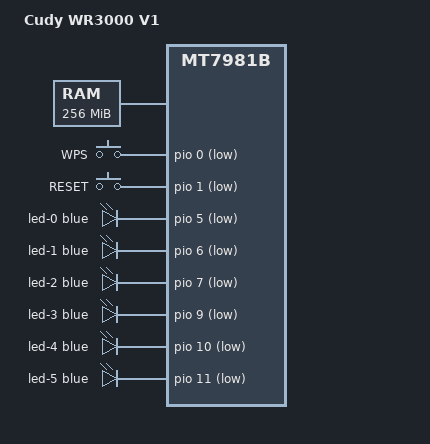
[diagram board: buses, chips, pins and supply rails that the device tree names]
// SPDX-License-Identifier: GPL-2.0-only OR MIT

/dts-v1/;
#include <dt-bindings/input/input.h>
#include <dt-bindings/gpio/gpio.h>
#include <dt-bindings/leds/common.h>

#include "mt7981b.dtsi"

/ {
	compatible = "cudy,wr3000-v1", "mediatek,mt7981b";
	model = "Cudy WR3000 V1";

	memory@40000000 {
		reg = <0 0x40000000 0 0x10000000>;
		device_type = "memory";
	};

	keys {
		compatible = "gpio-keys";

		key-wps {
			label = "WPS";
			gpios = <&pio 0 GPIO_ACTIVE_LOW>;
			linux,code = <KEY_WPS_BUTTON>;
		};

		key-reset {
			label = "RESET";
			gpios = <&pio 1 GPIO_ACTIVE_LOW>;
			linux,code = <KEY_RESTART>;
		};
	};

	leds {
		compatible = "gpio-leds";

		led-0 {
			color = <LED_COLOR_ID_BLUE>;
			function = LED_FUNCTION_WAN;
			gpios = <&pio 5 GPIO_ACTIVE_LOW>;
		};

		led-1 {
			color = <LED_COLOR_ID_BLUE>;
			function = LED_FUNCTION_WLAN_2GHZ;
			gpios = <&pio 6 GPIO_ACTIVE_LOW>;
		};

		led-2 {
			color = <LED_COLOR_ID_BLUE>;
			function = LED_FUNCTION_WLAN_5GHZ;
			gpios = <&pio 7 GPIO_ACTIVE_LOW>;
		};

		led-3 {
			color = <LED_COLOR_ID_BLUE>;
			function = LED_FUNCTION_LAN;
			gpios = <&pio 9 GPIO_ACTIVE_LOW>;
		};

		led-4 {
			color = <LED_COLOR_ID_BLUE>;
			function = LED_FUNCTION_STATUS;
			gpios = <&pio 10 GPIO_ACTIVE_LOW>;
		};

		led-5 {
			color = <LED_COLOR_ID_BLUE>;
			function = LED_FUNCTION_WAN_ONLINE;
			gpios = <&pio 11 GPIO_ACTIVE_LOW>;
		};
	};
};
